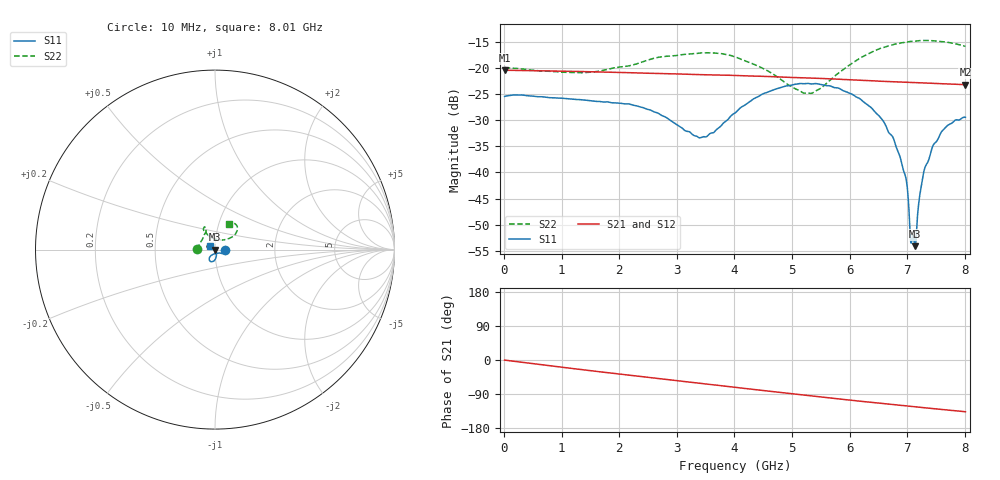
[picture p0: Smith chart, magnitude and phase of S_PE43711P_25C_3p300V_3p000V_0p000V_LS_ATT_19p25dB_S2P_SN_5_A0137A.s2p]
! Device ID: PE43711P
! File Path: z:\PE43711P\CHAR_NOM_04282014\AMB\3p300\LS_ATT_19p25dB\PE43711P_AMB_3p300V_3p000V_0p000V_LS_ATT_19p25dB_S2P_SN_5_A0137A.s2p
! Serial: 5
! Lot: A0137A
! Temp: 25C
! VDD: 3.300
! VSS: 0.000
! Control_Hi: 3.000
! Control_Lo: 0.000
! Attenuation Step: 19.25dB
! Port 1: RF1
! Port 2: RF2
! ThroughPath:1-2
! IDD: 0.000127584
! ISS: -9.96e-008
#  Hz  S  RI  R  50
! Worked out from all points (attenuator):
!   801 points, 10 MHz to 8.01 GHz, reference 50 ohm
!   highest |S21| = -20.46 dB at 10 MHz (marker M1); lowest = -23.2 dB at 8.01 GHz (marker M2)
!   lowest |S11| = -54.1 dB at 7.14 GHz (marker M3), VSWR 1.00, Z = 49.8 - j0.00898 ohm
!   |S11| at or under -10 dB: start of sweep to end of sweep
!   |S22| runs from -24.9 to -14.8 dB; largest |S21 - S12| = 0.00017
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1e7  0.0532 0.000182  0.0948 -0.000431  0.0949 -0.000464  -0.1009 0.000845
1.35e9  0.0458 -0.0187  0.0832 -0.0395  0.0833 -0.0395  -0.0752 0.0489
2.68e9  0.0309 -0.0198  0.0579 -0.0666  0.0579 -0.0667  -0.0517 0.1149
3.41e9  0.00549 -0.0208  0.0407 -0.0757  0.0408 -0.0757  -0.057 0.1262
4.01e9  -0.0198 -0.0313  0.026 -0.0804  0.026 -0.0804  -0.0636 0.1101
4.67e9  -0.0323 -0.0521  0.00935 -0.0816  0.00932 -0.0817  -0.0367 0.0793
5.17e9  -0.0263 -0.0656  -0.00254 -0.0801  -0.0026 -0.0802  0.00114 0.0586
5.35e9  -0.0221 -0.0665  -0.00672 -0.0793  -0.00672 -0.0794  0.0197 0.0539
6.17e9  0.00294 -0.0509  -0.0242 -0.0722  -0.0243 -0.0722  0.099 0.0727
6.53e9  0.0076 -0.033  -0.0306 -0.0679  -0.0306 -0.068  0.1195 0.0958
6.68e9  0.00656 -0.0231  -0.0329 -0.0661  -0.0329 -0.0661  0.1229 0.1059
6.78e9  0.00636 -0.0186  -0.0345 -0.0648  -0.0344 -0.0648  0.1248 0.1124
6.95e9  0.00261 -0.00958  -0.037 -0.0627  -0.0369 -0.0627  0.1242 0.1224
6.99e9  0.0028 -0.00751  -0.0375 -0.0622  -0.0375 -0.0622  0.1244 0.1243
7.05e9  0.000455 -0.0026  -0.0385 -0.0614  -0.0384 -0.0614  0.1234 0.1288
7.08e9  -0.00134 -0.0018  -0.0389 -0.061  -0.0389 -0.0611  0.1225 0.1302
7.11e9  -0.00196 -0.00147  -0.0393 -0.0606  -0.0393 -0.0607  0.1219 0.1313
7.14e9  -0.00198 -9.02e-05  -0.0398 -0.0602  -0.0398 -0.0603  0.1216 0.1329
7.27e9  -0.006 0.00675  -0.0417 -0.0584  -0.0416 -0.0585  0.1173 0.1397
7.44e9  -0.0116 0.0134  -0.0438 -0.056  -0.0439 -0.056  0.1082 0.1454
7.68e9  -0.0195 0.0193  -0.0467 -0.0524  -0.0467 -0.0524  0.0941 0.1489
8.01e9  -0.0258 0.0216  -0.0501 -0.0475  -0.0502 -0.0474  0.0762 0.1409
